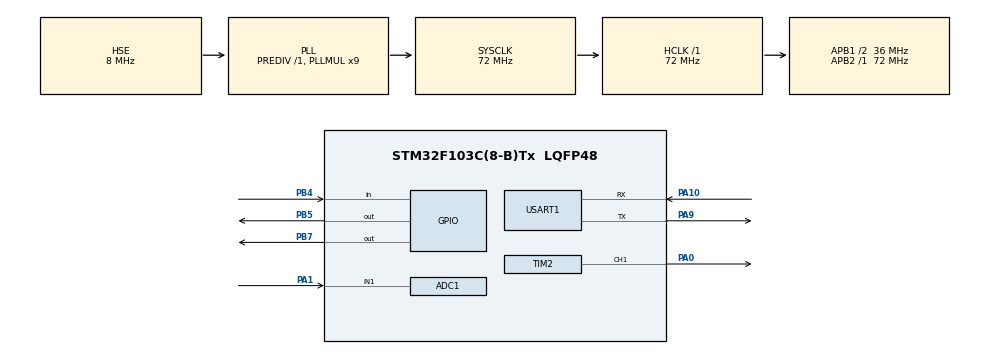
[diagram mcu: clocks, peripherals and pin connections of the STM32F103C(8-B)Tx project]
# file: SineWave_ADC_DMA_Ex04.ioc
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ADC1.Channel-0\#ChannelRegularConversion=ADC_CHANNEL_1
ADC1.ExternalTrigConv=ADC_EXTERNALTRIGCONV_T4_CC4
ADC1.NbrOfConversion=1
ADC1.NbrOfConversionFlag=1
ADC1.Rank-0\#ChannelRegularConversion=1
ADC1.SamplingTime-0\#ChannelRegularConversion=ADC_SAMPLETIME_13CYCLES_5
ADC1.master=1
Dma.ADC1.0.Direction=DMA_PERIPH_TO_MEMORY
Dma.ADC1.0.Instance=DMA1_Channel1
Dma.ADC1.0.MemDataAlignment=DMA_MDATAALIGN_WORD
Dma.ADC1.0.MemInc=DMA_MINC_ENABLE
Dma.ADC1.0.Mode=DMA_CIRCULAR
Dma.ADC1.0.PeriphDataAlignment=DMA_PDATAALIGN_WORD
Dma.ADC1.0.PeriphInc=DMA_PINC_DISABLE
Dma.ADC1.0.Priority=DMA_PRIORITY_HIGH
Dma.Request0=ADC1
Dma.Request1=TIM4_UP
Dma.TIM4_UP.1.Direction=DMA_MEMORY_TO_PERIPH
Dma.TIM4_UP.1.Instance=DMA1_Channel7
Dma.TIM4_UP.1.MemDataAlignment=DMA_MDATAALIGN_WORD
Dma.TIM4_UP.1.MemInc=DMA_MINC_ENABLE
Dma.TIM4_UP.1.Mode=DMA_CIRCULAR
Dma.TIM4_UP.1.PeriphDataAlignment=DMA_PDATAALIGN_WORD
Dma.TIM4_UP.1.PeriphInc=DMA_PINC_DISABLE
Dma.TIM4_UP.1.Priority=DMA_PRIORITY_VERY_HIGH
Mcu.Family=STM32F1
Mcu.Name=STM32F103C(8-B)Tx
Mcu.Package=LQFP48
NVIC.DMA1_Channel1_IRQn=true\:0\:0\:false\:false\:true\:false\:true\:true
NVIC.DMA1_Channel7_IRQn=true\:0\:0\:false\:false\:true\:false\:true\:true
NVIC.PriorityGroup=NVIC_PRIORITYGROUP_4
PA0-WKUP.Signal=S_TIM2_CH1_ETR
PA1.Signal=ADCx_IN1
PA10.Mode=Asynchronous
PA10.Signal=USART1_RX
PA9.Mode=Asynchronous
PA9.Signal=USART1_TX
PB4.GPIO_PuPd=GPIO_PULLUP
PB4.Signal=GPIO_Input
PB5.Signal=GPIO_Output
PB7.Signal=GPIO_Output
PD0-OSC_IN.Mode=HSE-External-Oscillator
PD0-OSC_IN.Signal=RCC_OSC_IN
PD1-OSC_OUT.Mode=HSE-External-Oscillator
PD1-OSC_OUT.Signal=RCC_OSC_OUT
ProjectManager.HeapSize=0x200
ProjectManager.StackSize=0x400
ProjectManager.TargetToolchain=STM32CubeIDE
RCC.ADCPresc=RCC_ADCPCLK2_DIV6
RCC.AHBFreq_Value=72000000
RCC.APB1CLKDivider=RCC_HCLK_DIV2
RCC.APB1Freq_Value=36000000
RCC.APB1TimFreq_Value=72000000
RCC.APB2Freq_Value=72000000
RCC.APB2TimFreq_Value=72000000
RCC.HCLKFreq_Value=72000000
RCC.PLLMUL=RCC_PLL_MUL9
RCC.PLLSourceVirtual=RCC_PLLSOURCE_HSE
RCC.SYSCLKFreq_VALUE=72000000
RCC.SYSCLKSource=RCC_SYSCLKSOURCE_PLLCLK
RCC.USBFreq_Value=72000000
SH.ADCx_IN1.0=ADC1_IN1,IN1
SH.S_TIM2_CH1_ETR.0=TIM2_CH1,PWM Generation1 CH1
TIM2.AutoReloadPreload=TIM_AUTORELOAD_PRELOAD_ENABLE
TIM2.Channel-PWM\ Generation1\ CH1=TIM_CHANNEL_1
TIM2.Period=255
TIM4.Channel-PWM\ Generation4\ No\ Output=TIM_CHANNEL_4
TIM4.OCMode_PWM-PWM\ Generation4\ No\ Output=TIM_OCMODE_PWM2
TIM4.Period=768-1
TIM4.Pulse-PWM\ Generation4\ No\ Output=513
TIM4.TIM_MasterOutputTrigger=TIM_TRGO_OC4REF
USART1.VirtualMode=VM_ASYNC
VP_TIM2_VS_ClockSourceINT.Mode=Internal
VP_TIM4_VS_ClockSourceINT.Mode=Internal
VP_TIM4_VS_no_output4.Mode=PWM Generation4 No Output
board=custom

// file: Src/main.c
/* USER CODE BEGIN Header */
/**
  ******************************************************************************
  * @file           : main.c
  * @brief          : Main program body
  ******************************************************************************
  * @attention
  *
  * Copyright (c) 2022 STMicroelectronics.
  * All rights reserved.
  *
  * Programa que gera um sinal senoidal de 732Hz e 128 pontos, e, simultaneamente, lê a porta
  * analógica, Na porta analógica está o próprio sinal senoidal gerado.
  * Além disso, quando uma string "next" chega na porta serial, todo o bufffer é
  * transferido via UART. (Do outro lado um programa no labview recebe esses dados)
  *
  ******************************************************************************
  */
/* USER CODE END Header */
#include "main.h"

/* USER CODE BEGIN Includes */
#include <stdbool.h>
#include <string.h>
/* USER CODE END Includes */

/* USER CODE BEGIN PM */
#define Ns 128
#define BUFLEN 128

uint32_t DestAddress = (uint32_t)&(TIM2->CCR1);

uint32_t Wave[Ns] = {128,134,140,146,152,158,165,170,176,182,188,193,198,203,208,213,218,222,226,
		230,234,237,240,243,245,248,250,251,253,254,254,255,255,255,254,254,253,251,250,248,245,
		243,240,237,234,230,226,222,218,213,208,203,198,193,188,182,176,170,165,158,152,146,140,
		134,128,121,115,109,103,97,90,85,79,73,67,62,57,52,47,42,37,33,29,25,21,18,15,12,10,7,5,
		4,2,1,1,0,0,0,1,1,2,4,5,7,10,12,15,18,21,25,29,33,37,42,47,52,57,62,67,73,79,85,90,97,103,
		109,115,121,128};

uint32_t dmaBuffer[BUFLEN];

bool flag = false;
bool transfer = false;

char recebido[10]; 	// buffer que armazena a string recebida.
char resp1[4] = {'n', 'e', 'x', 't'};
char resp2[4] = {'s', 't', 'o', 'p'};
int ret;

int i = 0;				// Variável de Iteração
char dados[4];

long g;
long h;
/* USER CODE END PM */

ADC_HandleTypeDef hadc1;
DMA_HandleTypeDef hdma_adc1;

TIM_HandleTypeDef htim2;
TIM_HandleTypeDef htim4;
DMA_HandleTypeDef hdma_tim4_up;

UART_HandleTypeDef huart1;

void SystemClock_Config(void);
static void MX_GPIO_Init(void);
static void MX_DMA_Init(void);
static void MX_ADC1_Init(void);
static void MX_TIM2_Init(void);
static void MX_TIM4_Init(void);
static void MX_USART1_UART_Init(void);

int main(void)
{

  /* MCU Configuration--------------------------------------------------------*/

  /* Reset of all peripherals, Initializes the Flash interface and the Systick. */
  HAL_Init();

  /* Configure the system clock */
  SystemClock_Config();

  /* Initialize all configured peripherals */
  MX_GPIO_Init();
  MX_DMA_Init();
  MX_ADC1_Init();
  MX_TIM2_Init();
  MX_TIM4_Init();
  MX_USART1_UART_Init();
  /* USER CODE BEGIN 2 */

  // Iniciando TIMERS 2 e 4 como PWM
  HAL_TIM_PWM_Start(&htim2, TIM_CHANNEL_1);
  HAL_TIM_PWM_Start(&htim4, TIM_CHANNEL_4);

  // Atualização do TIM2_CCR1 via DMA a partir da tabela de seno.
  HAL_DMA_Start_IT(&hdma_tim4_up, (uint32_t)Wave, DestAddress, Ns);
  __HAL_TIM_ENABLE_DMA(&htim4, TIM_DMA_UPDATE);

  // Conversão ADC via DMA
  HAL_ADC_Start_DMA(&hadc1, dmaBuffer, BUFLEN);
  /* USER CODE END 2 */

  // Iniciando TIMERS 2 e 4
  HAL_TIM_Base_Start(&htim2);
  HAL_TIM_Base_Start(&htim4);

  /* Infinite loop */
  while (1)
  {
	  HAL_UART_Receive(&huart1, recebido, 4, 100);
	  ret = strncmp(recebido, resp1, 4);

	  if (ret == 0){		// Se ret = 0 as duas strings são iguais.
		  recebido[0] = 'a';
		  flag = true;
	  }
  }
}

void SystemClock_Config(void)
{
  RCC_OscInitTypeDef RCC_OscInitStruct = {0};
  RCC_ClkInitTypeDef RCC_ClkInitStruct = {0};
  RCC_PeriphCLKInitTypeDef PeriphClkInit = {0};

  /** Initializes the RCC Oscillators according to the specified parameters
  * in the RCC_OscInitTypeDef structure.
  */
  RCC_OscInitStruct.OscillatorType = RCC_OSCILLATORTYPE_HSE;
  RCC_OscInitStruct.HSEState = RCC_HSE_ON;
  RCC_OscInitStruct.HSEPredivValue = RCC_HSE_PREDIV_DIV1;
  RCC_OscInitStruct.HSIState = RCC_HSI_ON;
  RCC_OscInitStruct.PLL.PLLState = RCC_PLL_ON;
  RCC_OscInitStruct.PLL.PLLSource = RCC_PLLSOURCE_HSE;
  RCC_OscInitStruct.PLL.PLLMUL = RCC_PLL_MUL9;
  if (HAL_RCC_OscConfig(&RCC_OscInitStruct) != HAL_OK)
  {
    Error_Handler();
  }

  /** Initializes the CPU, AHB and APB buses clocks
  */
  RCC_ClkInitStruct.ClockType = RCC_CLOCKTYPE_HCLK|RCC_CLOCKTYPE_SYSCLK
                              |RCC_CLOCKTYPE_PCLK1|RCC_CLOCKTYPE_PCLK2;
  RCC_ClkInitStruct.SYSCLKSource = RCC_SYSCLKSOURCE_PLLCLK;
  RCC_ClkInitStruct.AHBCLKDivider = RCC_SYSCLK_DIV1;
  RCC_ClkInitStruct.APB1CLKDivider = RCC_HCLK_DIV2;
  RCC_ClkInitStruct.APB2CLKDivider = RCC_HCLK_DIV1;

  if (HAL_RCC_ClockConfig(&RCC_ClkInitStruct, FLASH_LATENCY_2) != HAL_OK)
  {
    Error_Handler();
  }
  PeriphClkInit.PeriphClockSelection = RCC_PERIPHCLK_ADC;
  PeriphClkInit.AdcClockSelection = RCC_ADCPCLK2_DIV6;
  if (HAL_RCCEx_PeriphCLKConfig(&PeriphClkInit) != HAL_OK)
  {
    Error_Handler();
  }
}

static void MX_ADC1_Init(void)
{

  ADC_ChannelConfTypeDef sConfig = {0};

  /** Common config
  */
  hadc1.Instance = ADC1;
  hadc1.Init.ScanConvMode = ADC_SCAN_DISABLE;
  hadc1.Init.ContinuousConvMode = DISABLE;
  hadc1.Init.DiscontinuousConvMode = DISABLE;
  hadc1.Init.ExternalTrigConv = ADC_EXTERNALTRIGCONV_T4_CC4;
  hadc1.Init.DataAlign = ADC_DATAALIGN_RIGHT;
  hadc1.Init.NbrOfConversion = 1;
  if (HAL_ADC_Init(&hadc1) != HAL_OK)
  {
    Error_Handler();
  }

  /** Configure Regular Channel
  */
  sConfig.Channel = ADC_CHANNEL_1;
  sConfig.Rank = ADC_REGULAR_RANK_1;
  sConfig.SamplingTime = ADC_SAMPLETIME_13CYCLES_5;
  if (HAL_ADC_ConfigChannel(&hadc1, &sConfig) != HAL_OK)
  {
    Error_Handler();
  }

}

static void MX_TIM2_Init(void)
{

  TIM_ClockConfigTypeDef sClockSourceConfig = {0};
  TIM_MasterConfigTypeDef sMasterConfig = {0};
  TIM_OC_InitTypeDef sConfigOC = {0};

  htim2.Instance = TIM2;
  htim2.Init.Prescaler = 0;
  htim2.Init.CounterMode = TIM_COUNTERMODE_UP;
  htim2.Init.Period = 255;
  htim2.Init.ClockDivision = TIM_CLOCKDIVISION_DIV1;
  htim2.Init.AutoReloadPreload = TIM_AUTORELOAD_PRELOAD_ENABLE;
  if (HAL_TIM_Base_Init(&htim2) != HAL_OK)
  {
    Error_Handler();
  }
  sClockSourceConfig.ClockSource = TIM_CLOCKSOURCE_INTERNAL;
  if (HAL_TIM_ConfigClockSource(&htim2, &sClockSourceConfig) != HAL_OK)
  {
    Error_Handler();
  }
  if (HAL_TIM_PWM_Init(&htim2) != HAL_OK)
  {
    Error_Handler();
  }
  sMasterConfig.MasterOutputTrigger = TIM_TRGO_RESET;
  sMasterConfig.MasterSlaveMode = TIM_MASTERSLAVEMODE_DISABLE;
  if (HAL_TIMEx_MasterConfigSynchronization(&htim2, &sMasterConfig) != HAL_OK)
  {
    Error_Handler();
  }
  sConfigOC.OCMode = TIM_OCMODE_PWM1;
  sConfigOC.Pulse = 0;
  sConfigOC.OCPolarity = TIM_OCPOLARITY_HIGH;
  sConfigOC.OCFastMode = TIM_OCFAST_DISABLE;
  if (HAL_TIM_PWM_ConfigChannel(&htim2, &sConfigOC, TIM_CHANNEL_1) != HAL_OK)
  {
    Error_Handler();
  }
  HAL_TIM_MspPostInit(&htim2);

}

static void MX_TIM4_Init(void)
{

  TIM_ClockConfigTypeDef sClockSourceConfig = {0};
  TIM_MasterConfigTypeDef sMasterConfig = {0};
  TIM_OC_InitTypeDef sConfigOC = {0};

  htim4.Instance = TIM4;
  htim4.Init.Prescaler = 0;
  htim4.Init.CounterMode = TIM_COUNTERMODE_UP;
  htim4.Init.Period = 768-1;
  htim4.Init.ClockDivision = TIM_CLOCKDIVISION_DIV1;
  htim4.Init.AutoReloadPreload = TIM_AUTORELOAD_PRELOAD_DISABLE;
  if (HAL_TIM_Base_Init(&htim4) != HAL_OK)
  {
    Error_Handler();
  }
  sClockSourceConfig.ClockSource = TIM_CLOCKSOURCE_INTERNAL;
  if (HAL_TIM_ConfigClockSource(&htim4, &sClockSourceConfig) != HAL_OK)
  {
    Error_Handler();
  }
  if (HAL_TIM_PWM_Init(&htim4) != HAL_OK)
  {
    Error_Handler();
  }
  sMasterConfig.MasterOutputTrigger = TIM_TRGO_OC4REF;
  sMasterConfig.MasterSlaveMode = TIM_MASTERSLAVEMODE_DISABLE;
  if (HAL_TIMEx_MasterConfigSynchronization(&htim4, &sMasterConfig) != HAL_OK)
  {
    Error_Handler();
  }
  sConfigOC.OCMode = TIM_OCMODE_PWM2;
  sConfigOC.Pulse = 513;
  sConfigOC.OCPolarity = TIM_OCPOLARITY_HIGH;
  sConfigOC.OCFastMode = TIM_OCFAST_DISABLE;
  if (HAL_TIM_PWM_ConfigChannel(&htim4, &sConfigOC, TIM_CHANNEL_4) != HAL_OK)
  {
    Error_Handler();
  }

}

static void MX_USART1_UART_Init(void)
{

  huart1.Instance = USART1;
  huart1.Init.BaudRate = 115200;
  huart1.Init.WordLength = UART_WORDLENGTH_8B;
  huart1.Init.StopBits = UART_STOPBITS_1;
  huart1.Init.Parity = UART_PARITY_NONE;
  huart1.Init.Mode = UART_MODE_TX_RX;
  huart1.Init.HwFlowCtl = UART_HWCONTROL_NONE;
  huart1.Init.OverSampling = UART_OVERSAMPLING_16;
  if (HAL_UART_Init(&huart1) != HAL_OK)
  {
    Error_Handler();
  }

}

static void MX_DMA_Init(void)
{

  /* DMA controller clock enable */
  __HAL_RCC_DMA1_CLK_ENABLE();

  /* DMA interrupt init */
  /* DMA1_Channel1_IRQn interrupt configuration */
  HAL_NVIC_SetPriority(DMA1_Channel1_IRQn, 0, 0);
  HAL_NVIC_EnableIRQ(DMA1_Channel1_IRQn);
  /* DMA1_Channel7_IRQn interrupt configuration */
  HAL_NVIC_SetPriority(DMA1_Channel7_IRQn, 0, 0);
  HAL_NVIC_EnableIRQ(DMA1_Channel7_IRQn);

}

static void MX_GPIO_Init(void)
{
  GPIO_InitTypeDef GPIO_InitStruct = {0};

  /* GPIO Ports Clock Enable */
  __HAL_RCC_GPIOD_CLK_ENABLE();
  __HAL_RCC_GPIOA_CLK_ENABLE();
  __HAL_RCC_GPIOB_CLK_ENABLE();

  /*Configure GPIO pin Output Level */
  HAL_GPIO_WritePin(GPIOB, GPIO_PIN_5|GPIO_PIN_7, GPIO_PIN_RESET);

  /*Configure GPIO pin : PB4 */
  GPIO_InitStruct.Pin = GPIO_PIN_4;
  GPIO_InitStruct.Mode = GPIO_MODE_INPUT;
  GPIO_InitStruct.Pull = GPIO_PULLUP;
  HAL_GPIO_Init(GPIOB, &GPIO_InitStruct);

  /*Configure GPIO pins : PB5 PB7 */
  GPIO_InitStruct.Pin = GPIO_PIN_5|GPIO_PIN_7;
  GPIO_InitStruct.Mode = GPIO_MODE_OUTPUT_PP;
  GPIO_InitStruct.Pull = GPIO_NOPULL;
  GPIO_InitStruct.Speed = GPIO_SPEED_FREQ_LOW;
  HAL_GPIO_Init(GPIOB, &GPIO_InitStruct);

}

/* USER CODE BEGIN 4 */
void HAL_ADC_ConvCpltCallback(ADC_HandleTypeDef* hadc1){

if( transfer == true){
	flag = false;
	transfer = false;

	HAL_GPIO_TogglePin(GPIOB, GPIO_PIN_5);
	for (i = 0; i < BUFLEN; i++){
		  sprintf(dados, "%4d", dmaBuffer[i]);
		  HAL_UART_Transmit(&huart1, dados , 4, 200);
		  for (g = 1; g < 500; g++){
			  h = (1 + g)/(1 + g);
		  }
		 }
	HAL_UART_Transmit(&huart1, "stop", 4, 100);
}

	if (flag == true){
		transfer = true;
	}
}
/* USER CODE END 4 */

void Error_Handler(void)
{
  __disable_irq();
  while (1)
  {
  }
}
